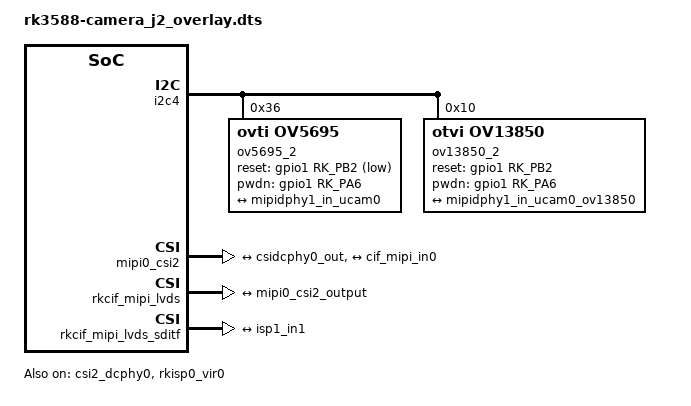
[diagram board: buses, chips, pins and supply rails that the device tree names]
/dts-v1/;
/plugin/;

#include <dt-bindings/usb/pd.h>
#include <dt-bindings/gpio/gpio.h>
#include <dt-bindings/pwm/pwm.h>
#include <dt-bindings/pinctrl/rockchip.h>
#include <dt-bindings/input/rk-input.h>
#include <dt-bindings/display/drm_mipi_dsi.h>
#include <dt-bindings/display/rockchip_vop.h>
#include <dt-bindings/sensor-dev.h>
#include <dt-bindings/clock/rk3588-cru.h>
#include <dt-bindings/power/rk3588-power.h>

/ {

	fragment@0 {
		target = <&csi2_dcphy0>;
		__overlay__ {
			status = "okay";
			ports {
				#address-cells = <1>;
				#size-cells = <0>;

				port@0 {
					reg = <0>;
					#address-cells = <1>;
					#size-cells = <0>;

					mipidphy1_in_ucam0: endpoint@1 {
						reg = <1>;
						remote-endpoint = <&ov5695_out_2>;
						data-lanes = <1 2>;
					}; 

					mipidphy1_in_ucam0_ov13850: endpoint@2 {
						reg = <2>;
						remote-endpoint = <&ov13850_out_2>;
						data-lanes = <1 2>;
					};
				};

				port@1 {
					reg = <1>;
					#address-cells = <1>;
					#size-cells = <0>;

					csidcphy0_out: endpoint@0 {
						reg = <0>;
						remote-endpoint = <&mipi0_csi2_input>;
					};
				};
			};
		};
	};

	fragment@1 {
		target = <&i2c4>;
		__overlay__ {
			status = "okay";
			pinctrl-names = "default";
			pinctrl-0 = <&i2c4m3_xfer>;

			ov5695_2: ov5695@36 {
				status = "okay";
				compatible = "ovti,ov5695";
				reg = <0x36>;
				clocks = <&cru CLK_MIPI_CAMARAOUT_M1>;
				clock-names = "xvclk";
				power-domains = <&power RK3588_PD_VI>;
				pinctrl-names = "default";
				pinctrl-0 = <&mipim0_camera1_clk>;
				reset-gpios = <&gpio1 RK_PB2 GPIO_ACTIVE_LOW>;
				pwdn-gpios = <&gpio1 RK_PA6 GPIO_ACTIVE_HIGH>;
				rockchip,camera-module-index = <1>;
				rockchip,camera-module-facing = "back";
				rockchip,camera-module-name = "default";
				rockchip,camera-module-lens-name = "default";
				port {
					ov5695_out_2: endpoint {
						remote-endpoint = <&mipidphy1_in_ucam0>;
						data-lanes = <1 2>;
					};
				};
			};

			ov13850_2: ov13850@10 {
				status = "okay";
				compatible = "otvi,ov13850";
				reg = <0x10>;
				clocks = <&cru CLK_MIPI_CAMARAOUT_M1>;
				clock-names = "xvclk";
				power-domains = <&power RK3588_PD_VI>;
				pinctrl-names = "default";
				pinctrl-0 = <&mipim0_camera1_clk>;
				reset-gpios = <&gpio1 RK_PB2 GPIO_ACTIVE_HIGH>;
				pwdn-gpios = <&gpio1 RK_PA6 GPIO_ACTIVE_HIGH>;
				rockchip,camera-module-index = <1>;
				rockchip,camera-module-facing = "back";
				rockchip,camera-module-name = "CMK-CT0116";
				rockchip,camera-module-lens-name = "Largan-50013A1";
				port {
					ov13850_out_2: endpoint {
						remote-endpoint = <&mipidphy1_in_ucam0_ov13850>;
						data-lanes = <1 2>;
					};
				};
			};
		};
	};

	fragment@2 {
		target = <&mipi0_csi2>;
		__overlay__ {
			status = "okay";
			ports {
				#address-cells = <1>;
				#size-cells = <0>;

				port@0 {
					reg = <0>;
					#address-cells = <1>;
					#size-cells = <0>;

					mipi0_csi2_input: endpoint@1 {
						reg = <1>;
						remote-endpoint = <&csidcphy0_out>;
					};
				};

				port@1 {
					reg = <1>;
					#address-cells = <1>;
					#size-cells = <0>;

					mipi0_csi2_output: endpoint@0 {
						reg = <0>;
						remote-endpoint = <&cif_mipi_in0>;
					};
				};
			};
		};
	};

	fragment@3 {
		target = <&rkcif_mipi_lvds>;
		__overlay__ {
			status = "okay";
			port {
				cif_mipi_in0: endpoint {
					remote-endpoint = <&mipi0_csi2_output>;
				};
			};
		};
	};

	fragment@4 {
		target = <&rkcif_mipi_lvds_sditf>;
		__overlay__ {
			status = "okay";
			port {
				mipi_lvds_sditf: endpoint {
					remote-endpoint = <&isp1_in1>;
				};
			};
		};
	};

	fragment@5 {
		target = <&rkisp0_vir0>;
		__overlay__ {
			status = "okay";
			port {
				#address-cells = <1>;
				#size-cells = <0>;

				isp1_in1: endpoint@0 {
					reg = <0>;
					remote-endpoint = <&mipi_lvds_sditf>;
				};
			};
		};
	};
};
